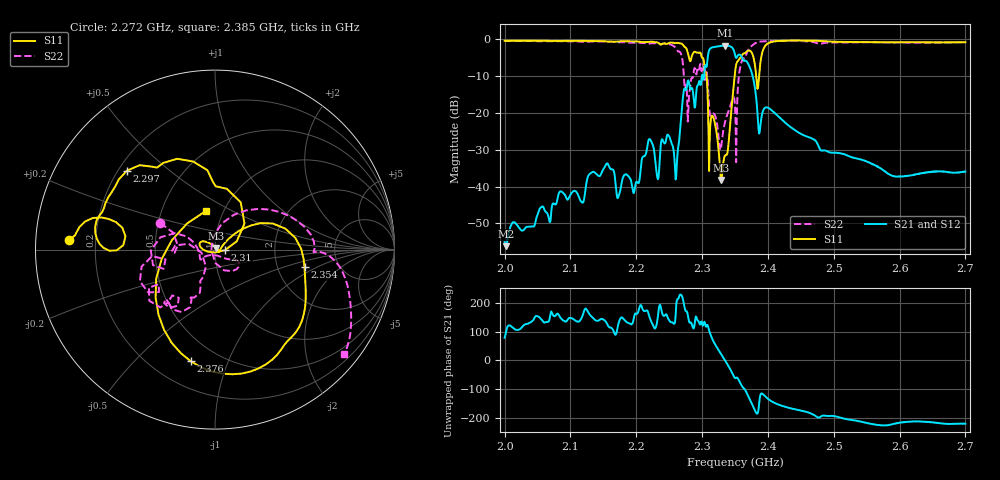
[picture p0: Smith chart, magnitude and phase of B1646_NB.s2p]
! Matrix data file written by TouchstoneData, EPCOS AG
! FILENAME: "B1646.NB.1.snp"
! COMMENT: "(B1646.NB.1.s2p)"
! INFO: nport=2, nfreq=801
! DATE: "Thu Mar 11 13:18:21 2010"
! USER: "Adrian Ma"
! port | pin | signal
!  1  |  2  |  IN/OUT
!  2  |  5  |  OUT/IN
# MHZ S RI R 50
! freq  reS11 imS11  reS21 imS21  reS12 imS12  reS22 imS22
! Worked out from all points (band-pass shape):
!   801 points, 2 GHz to 2.7 GHz, reference 50 ohm
!   highest |S21| = -1.67 dB at 2.335 GHz (marker M1); lowest = -56.2 dB at 2.002 GHz (marker M2)
!   |S21| within 3 dB of the highest: 2.309 GHz to 2.351 GHz (41.99 MHz wide, 1.8 % of centre); 2.353332 GHz to 2.359857 GHz (6.525 MHz wide, 0.277 % of centre)
!   lowest |S11| = -38.2 dB at 2.329 GHz (marker M3), VSWR 1.02, Z = 50.8 + j0.928 ohm
!   |S11| at or under -10 dB: 2.307 GHz to 2.349 GHz (42.66 MHz wide, 1.83 % of centre); 2.382158 GHz to 2.386518 GHz (4.36 MHz wide, 0.183 % of centre)
!   |S22| runs from -33.4 to -0.4 dB; largest |S21 - S12| = 0.0018
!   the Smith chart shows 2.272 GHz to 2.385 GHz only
!   S11 on the Smith chart (normalised r, x): 2.272 GHz: 0.10, +0.03; 2.297 GHz: 0.23, +0.36; 2.31 GHz: 1.12, -0.01; 2.354 GHz: 2.84, -0.75; 2.376 GHz: 0.35, -0.74; 2.385 GHz: 0.83, +0.37
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2000  -0.3715 -0.8838  0.00035 0.00173  0.000349 0.00173  -0.0388 -0.9555
2001.75  -0.3739 -0.8833  -0.000107 0.00154  -0.000107 0.00154  -0.0424 -0.9545
2117.25  -0.528 -0.7964  -0.00522 0.00313  -0.00522 0.00313  -0.2133 -0.9064
2154.875  -0.6022 -0.7181  -0.0132 0.0156  -0.0132 0.0156  -0.3019 -0.8823
2197.75  -0.7015 -0.6277  -0.00868 0.00317  -0.00869 0.00317  -0.429 -0.7897
2220.5  -0.7518 -0.545  -0.0373 0.0235  -0.0373 0.0235  -0.5007 -0.724
2233.625  -0.7877 -0.4323  -0.0127 0.00278  -0.0127 0.00278  -0.5816 -0.6496
2248.5  -0.7961 -0.3887  -0.041 0.029  -0.041 0.0291  -0.6821 -0.5262
2261.625  -0.8715 -0.2151  -0.018 -0.00947  -0.018 -0.00942  -0.7015 -0.1916
2272.125  -0.814 0.0552  -0.187 -0.0654  -0.1874 -0.065  -0.3039 0.148
2297.5  -0.491 0.44  -0.1391 0.1951  -0.1393 0.1944  -0.366 -0.285
2309.75  0.055 -0.00336  -0.2491 0.6164  -0.2485 0.6177  -0.1562 0.0725
2329  0.00819 0.00913  0.7624 0.2941  0.7634 0.2936  0.0102 -0.0328
2335.125  0.0232 -0.0127  0.8249 -0.0174  0.8256 -0.0181  0.0588 -0.05
2350  0.3223 0.1453  0.2918 -0.5474  0.2913 -0.5482  0.0511 -0.1155
2354.375  0.4988 -0.0977  0.274 -0.5408  0.2734 -0.5417  0.1037 0.1932
2376.25  -0.1342 -0.6227  -0.2983 -0.1458  -0.2987 -0.1456  0.7573 -0.3386
2385  -0.0505 0.2156  -0.0763 -0.000119  -0.0764 7.32e-05  0.7184 -0.5836
2396.375  0.7388 -0.371  -0.0709 -0.0952  -0.0711 -0.0952  0.5806 -0.7422
2467.25  -0.0515 -0.9626  -0.0444 0.00536  -0.0444 0.0054  0.1185 -0.9201
2583.625  -0.3001 -0.8597  -0.0104 0.0105  -0.0104 0.0105  -0.0363 -0.9108
2700  -0.4162 -0.8157  -0.0121 0.0104  -0.0121 0.0104  -0.144 -0.9075
